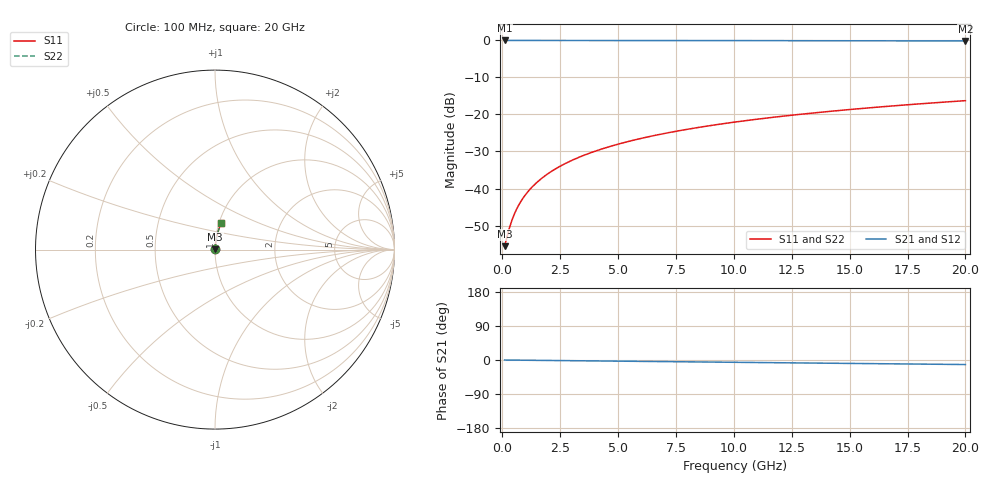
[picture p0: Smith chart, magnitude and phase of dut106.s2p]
! Touchstone file exported from HFSS 2026.1.0
!  File:  C:/ffzhzh/LocalFiles/Ansys_Project_Files/temp_train_BSMRDL_106_1782985764_6248.aedt
!  Generated:  05:50:37 PM Jul  2, 2026
!  Design:  BSMRDL
!  Project:  temp_train_BSMRDL_106_1782985764_6248
! Variables:
!  h_bsmrdl = 2.99um
!  h_ox = 20um
!  h_rdl = 5um
!  h_sub = 80um
!  h_tmrdl = 5um
!  h_tsv = 80um
!  h_via = 3um
!  l_bsmrdl = 114.58um
!  l_sub = 514.58um
!  l_tmrdl = 200um
!  m_sub = 200um
!  pitch = 41.37um
!  r_tsv = 6um
!  s_tmrdl = 10um
!  w_bsmrdl = 10.85um
!  w_sub = 500um
!  w_tmrdl = 12um
!  x_tsv_center1 = 206um
!  x_tsv_center2 = 331.43um
!  x_tsv_center3 = 543.43um
!  x_tsv_center4 = 668.86um
!  x_tsv_center5 = 880.86um
!  x_tsv_center6 = 1006.29um
# GHz S MA R 50.000000
! Terminal data exported
! Port[1] = BSM_RDL1_1_T1
! Port[2] = BSM_RDL1_1_T2
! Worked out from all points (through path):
!   200 points, 100 MHz to 20 GHz, reference 50 ohm
!   highest |S21| = -0.01 dB at 100 MHz (marker M1); lowest = -0.1 dB at 20 GHz (marker M2)
!   group delay of S21, straight-line fit = 1.66 ps
!   lowest |S11| = -55.6 dB at 100 MHz (marker M3), VSWR 1.00, Z = 50.1 + j0.0827 ohm
!   |S11| at or under -10 dB: start of sweep to end of sweep
!   |S22| runs from -55.6 to -16.3 dB; largest |S21 - S12| = 3.4e-15
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0.1  0.001665 29.7  0.9986 -0.1  0.9986 -0.1  0.001665 29.7
! Gamma 0 0 0 0
! Port Impedance 50 0 50 0
0.3  0.002875 59.0  0.9985 -0.2  0.9985 -0.2  0.002875 59.0
0.4  0.003605 65.3  0.9985 -0.3  0.9985 -0.3  0.003605 65.3
0.5  0.00436 69.3  0.9985 -0.3  0.9985 -0.3  0.00436 69.3
0.6  0.005126 72.2  0.9985 -0.4  0.9985 -0.4  0.005126 72.2
0.7  0.005897 74.3  0.9984 -0.4  0.9984 -0.4  0.005897 74.3
0.9  0.00745 77.1  0.9984 -0.6  0.9984 -0.6  0.00745 77.1
1.2  0.00979 79.7  0.9983 -0.7  0.9983 -0.7  0.00979 79.7
1.4  0.01136 80.8  0.9983 -0.9  0.9983 -0.9  0.01136 80.8
1.7  0.01371 81.9  0.9982 -1.0  0.9982 -1.0  0.01371 81.9
2.2  0.01765 83.0  0.9981 -1.3  0.9981 -1.3  0.01765 83.0
2.8  0.02238 83.7  0.998 -1.7  0.998 -1.7  0.02238 83.7
3.5  0.0279 84.1  0.9978 -2.1  0.9978 -2.1  0.0279 84.1
4.2  0.03342 84.2  0.9975 -2.6  0.9975 -2.6  0.03342 84.2
5  0.03971 84.1  0.9972 -3.1  0.9972 -3.1  0.03971 84.1
5.9  0.04677 83.8  0.9968 -3.6  0.9968 -3.6  0.04677 83.8
6.8  0.05381 83.5  0.9963 -4.1  0.9963 -4.1  0.05381 83.5
8.3  0.06547 82.8  0.9954 -5.0  0.9954 -5.0  0.06547 82.8
10.1  0.07936 81.9  0.9941 -6.1  0.9941 -6.1  0.07936 81.9
13.4  0.1045 80.1  0.9913 -8.1  0.9913 -8.1  0.1045 80.1
16.7  0.1293 78.3  0.9879 -10.0  0.9879 -10.0  0.1293 78.3
20  0.1536 76.5  0.984 -12.0  0.984 -12.0  0.1536 76.5
